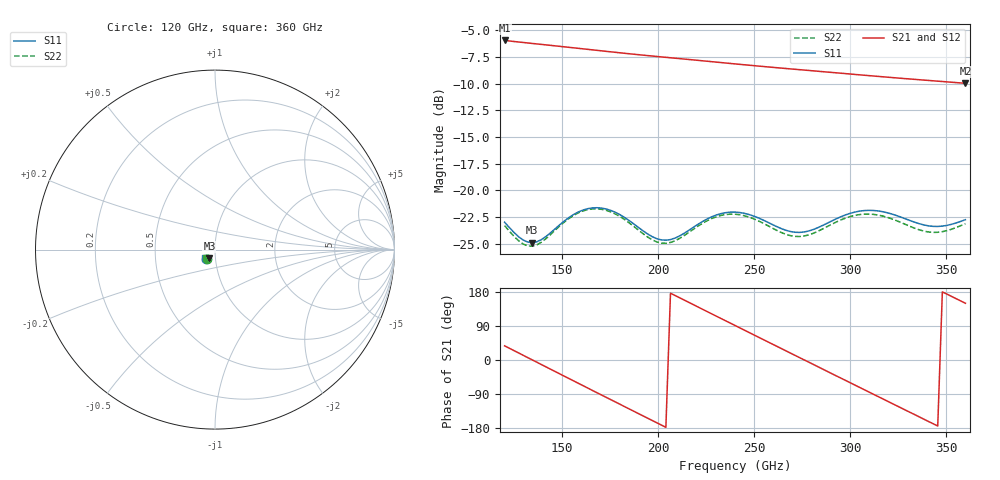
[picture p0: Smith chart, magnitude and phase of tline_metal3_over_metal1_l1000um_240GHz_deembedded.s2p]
! Created with skrf 2.2.0 (http://scikit-rf.org).
# GHz S DB R 50.0
! Port[1] = P1
! Port[2] = P2
!freq dBS11 angS11 dBS21 angS21 dBS12 angS12 dBS22 angS22
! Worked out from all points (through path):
!   101 points, 120 GHz to 360 GHz, reference 50 ohm
!   highest |S21| = -5.94 dB at 120 GHz (marker M1); lowest = -10.0 dB at 360 GHz (marker M2)
!   group delay of S21, straight-line fit = 7.03 ps
!   lowest |S11| = -24.9 dB at 134.4 GHz (marker M3), VSWR 1.12, Z = 46.8 - j4.48 ohm
!   |S11| at or under -10 dB: start of sweep to end of sweep
!   |S22| runs from -25.2 to -21.7 dB; largest |S21 - S12| = 5.4e-14
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120  -22.99 -133.2  -5.94 37.4  -5.94 37.4  -23.31 -132.7
134.4  -24.91 -122.9  -6.22 0.3  -6.22 0.3  -25.24 -120.8
146.4  -23.60 -114.4  -6.45 -30.6  -6.45 -30.6  -23.73 -112.2
160.8  -21.85 -121.8  -6.72 -67.6  -6.72 -67.6  -21.94 -120.4
170.4  -21.66 -130.7  -6.91 -92.2  -6.91 -92.2  -21.78 -129.8
180  -22.28 -138.4  -7.10 -116.7  -7.10 -116.7  -22.45 -137.7
192  -23.79 -141.1  -7.31 -147.2  -7.31 -147.2  -24.06 -140.4
201.6  -24.65 -135.4  -7.48 -171.6  -7.48 -171.6  -24.95 -134.0
211.2  -24.28 -127.9  -7.64 164.1  -7.64 164.1  -24.51 -126.3
223.2  -22.92 -126.8  -7.85 133.6  -7.85 133.6  -23.08 -125.5
240  -22.05 -136.4  -8.14 91.1  -8.14 91.1  -22.24 -135.7
249.6  -22.41 -141.8  -8.30 66.9  -8.30 66.9  -22.66 -141.3
261.6  -23.39 -143.7  -8.49 36.6  -8.49 36.6  -23.74 -143.0
271.2  -23.93 -139.8  -8.64 12.4  -8.64 12.4  -24.32 -138.6
280.8  -23.68 -134.7  -8.79 -11.7  -8.79 -11.7  -24.03 -133.1
290.4  -22.87 -133.1  -8.94 -35.9  -8.94 -35.9  -23.18 -131.6
302.4  -22.04 -136.9  -9.13 -66.0  -9.13 -66.0  -22.35 -135.7
312  -21.89 -141.8  -9.27 -90.1  -9.27 -90.1  -22.25 -140.9
321.6  -22.22 -145.9  -9.42 -114.2  -9.42 -114.2  -22.67 -145.0
340.8  -23.33 -144.9  -9.69 -162.2  -9.69 -162.2  -23.91 -142.5
350.4  -23.29 -141.0  -9.83 173.8  -9.83 173.8  -23.78 -137.8
360  -22.76 -139.0  -9.96 149.8  -9.96 149.8  -23.13 -135.7
